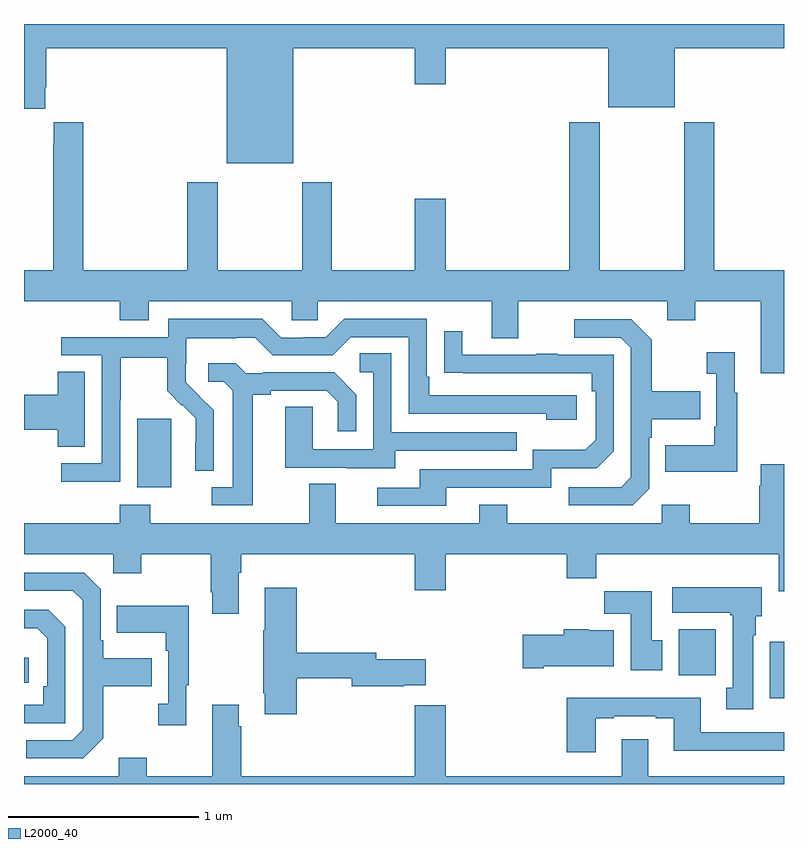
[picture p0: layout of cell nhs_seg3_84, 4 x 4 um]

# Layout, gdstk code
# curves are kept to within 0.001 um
import gdstk
lib = gdstk.Library(unit=1e-6, precision=1e-09)
def R(c, l, rs):  # rectangles x0, y0, x1, y1
    for r in rs: c.add(gdstk.rectangle(r[:2], r[2:], *l))
def P(c, l, *ps):  # polygons
    for p in ps: c.add(gdstk.Polygon(p, *l))
L2000_40 = (2000, 40)

nhs_seg3_84 = lib.new_cell('nhs_seg3_84')
R(nhs_seg3_84, L2000_40, [(118.925,674.852,119,675.148), (115,674.934,115.024,675.064), (118.445,674.972,118.642,675.214), (115.595,675.962,115.774,676.323)])
P(nhs_seg3_84, L2000_40, [(116.416,678.272),(117.056,678.272),(117.056,678.084),(117.22,678.084),(117.22,678.272),(118.076,678.272),(118.076,677.963),(118.426,677.963),(118.426,678.272),(119,678.272),(119,678.4),(115,678.4),(115,677.955),(115.111,677.955),(115.111,678.067),(115.118,678.067),(115.118,678.272),(116.066,678.272),(116.066,677.666),(116.416,677.666)],
  [(119,677.104),(118.634,677.104),(118.634,677.884),(118.474,677.884),(118.474,677.104),(118.029,677.104),(118.029,677.884),(117.869,677.884),(117.869,677.104),(117.22,677.104),(117.22,677.479),(117.056,677.479),(117.056,677.104),(116.619,677.104),(116.619,677.566),(116.464,677.566),(116.464,677.104),(116.019,677.104),(116.019,677.566),(115.859,677.566),(115.859,677.104),(115.313,677.104),(115.313,677.884),(115.157,677.884),(115.157,677.771),(115.153,677.771),(115.153,677.104),(115,677.104),(115,676.94),(115.505,676.94),(115.505,676.841),(115.657,676.841),(115.657,676.94),(116.409,676.94),(116.409,676.842),(116.547,676.842),(116.547,676.94),(117.461,676.94),(117.461,676.746),(117.601,676.746),(117.601,676.94),(118.385,676.94),(118.385,676.841),(118.533,676.841),(118.533,676.94),(118.877,676.94),(118.877,676.563),(119,676.563)],
  [(115.506,676.42),(115.509,676.42),(115.509,676.644),(115.753,676.644),(115.753,676.469),(115.83,676.392),(115.833,676.395),(115.904,676.325),(115.904,676.202),(115.902,676.202),(115.902,676.048),(115.998,676.048),(115.998,676.366),(115.852,676.514),(115.852,676.611),(115.854,676.611),(115.854,676.745),(116.117,676.745),(116.117,676.749),(116.217,676.749),(116.31,676.656),(116.625,676.656),(116.721,676.752),(117.024,676.752),(117.024,676.35),(117.749,676.35),(117.749,676.316),(117.91,676.316),(117.91,676.446),(117.133,676.446),(117.133,676.543),(117.12,676.543),(117.12,676.848),(116.685,676.848),(116.589,676.752),(116.471,676.752),(116.471,676.749),(116.355,676.749),(116.255,676.849),(115.758,676.849),(115.758,676.752),(115.197,676.752),(115.197,676.656),(115.41,676.656),(115.41,676.089),(115.197,676.089),(115.197,675.991),(115.506,675.991)],
  [(118.29,675.954),(118.29,676.223),(118.303,676.223),(118.303,676.319),(118.559,676.319),(118.559,676.467),(118.303,676.467),(118.303,676.739),(118.197,676.845),(117.897,676.845),(117.897,676.749),(118.14,676.749),(118.194,676.695),(118.194,676.014),(118.143,675.963),(117.867,675.963),(117.867,675.867),(118.203,675.867)],
  [(117.223,675.96),(117.774,675.96),(117.774,676.062),(118.014,676.062),(118.104,676.152),(118.104,676.659),(117.809,676.659),(117.809,676.664),(117.697,676.664),(117.697,676.659),(117.307,676.659),(117.307,676.783),(117.211,676.783),(117.211,676.564),(117.988,676.563),(117.988,676.466),(118.008,676.466),(118.008,676.212),(117.955,676.159),(117.678,676.159),(117.678,676.056),(117.083,676.056),(117.083,675.96),(116.859,675.96),(116.859,675.864),(117.223,675.864)],
  [(118.753,676.459),(118.741,676.459),(118.741,676.672),(118.593,676.672),(118.593,676.559),(118.644,676.559),(118.644,676.279),(118.632,676.279),(118.632,676.183),(118.375,676.183),(118.375,676.043),(118.753,676.043)],
  [(116.953,676.155),(117.593,676.155),(117.593,676.251),(116.934,676.251),(116.934,676.667),(116.766,676.667),(116.766,676.566),(116.838,676.566),(116.838,676.161),(116.52,676.161),(116.52,676.385),(116.375,676.385),(116.375,676.065),(116.699,676.065),(116.699,676.061),(116.953,676.061)],
  [(116.203,676.448),(116.299,676.448),(116.299,676.47),(116.594,676.47),(116.651,676.413),(116.651,676.257),(116.748,676.257),(116.748,676.45),(116.632,676.566),(116.26,676.566),(116.26,676.563),(116.166,676.563),(116.114,676.615),(115.971,676.615),(115.971,676.518),(116.052,676.518),(116.099,676.471),(116.099,675.963),(115.989,675.963),(115.989,675.867),(116.203,675.867)],
  [(115.321,676.571),(115.178,676.571),(115.178,676.448),(115,676.448),(115,676.265),(115.178,676.265),(115.178,676.174),(115.321,676.174)],
  [(116.131,675.512),(116.144,675.512),(116.144,675.608),(117.056,675.608),(117.056,675.42),(117.22,675.42),(117.22,675.608),(117.857,675.608),(117.857,675.484),(118.013,675.484),(118.013,675.608),(118.973,675.608),(118.973,675.414),(119,675.414),(119,676.084),(118.877,676.084),(118.877,675.971),(118.87,675.971),(118.87,675.772),(118.503,675.772),(118.503,675.871),(118.356,675.871),(118.356,675.772),(117.543,675.772),(117.543,675.871),(117.395,675.871),(117.395,675.772),(116.641,675.772),(116.641,675.98),(116.501,675.98),(116.501,675.772),(115.665,675.772),(115.665,675.871),(115.505,675.871),(115.505,675.772),(115,675.772),(115,675.608),(115.47,675.608),(115.47,675.509),(115.617,675.509),(115.617,675.608),(115.984,675.608),(115.984,675.409),(115.991,675.409),(115.991,675.297),(116.131,675.297)],
  [(115.417,674.641),(115.417,674.914),(115.673,674.914),(115.673,675.061),(115.417,675.061),(115.417,675.157),(115.404,675.157),(115.404,675.426),(115.317,675.513),(115,675.513),(115,675.417),(115.257,675.417),(115.308,675.366),(115.308,674.685),(115.254,674.631),(115.011,674.631),(115.011,674.535),(115.311,674.535)],
  [(118.837,675.182),(118.852,675.182),(118.852,675.282),(118.882,675.282),(118.882,675.436),(118.413,675.436),(118.413,675.302),(118.717,675.302),(118.717,675.289),(118.73,675.289),(118.73,674.906),(118.697,674.906),(118.697,674.793),(118.837,674.793)],
  [(116.435,674.956),(116.726,674.956),(116.726,674.914),(117.002,674.914),(117.002,674.921),(117.115,674.921),(117.115,675.056),(116.854,675.056),(116.854,675.092),(116.435,675.092),(116.435,675.433),(116.267,675.433),(116.267,675.209),(116.26,675.209),(116.26,674.878),(116.267,674.878),(116.267,674.766),(116.435,674.766)],
  [(118.36,675.156),(118.303,675.156),(118.303,675.415),(118.054,675.415),(118.054,675.296),(118.193,675.296),(118.193,675),(118.36,675)],
  [(115.855,674.921),(115.867,674.921),(115.867,675.337),(115.489,675.337),(115.489,675.197),(115.746,675.197),(115.746,675.101),(115.758,675.101),(115.758,674.822),(115.707,674.822),(115.707,674.709),(115.855,674.709)],
  [(115.218,675.228),(115.128,675.318),(115,675.318),(115,675.221),(115.069,675.221),(115.122,675.168),(115.122,674.914),(115.102,674.914),(115.102,674.817),(115,674.817),(115,674.721),(115.218,674.721)],
  [(117.736,675.02),(118.105,675.02),(118.105,675.208),(117.972,675.208),(117.972,675.214),(117.842,675.214),(117.842,675.186),(117.624,675.186),(117.624,675.008),(117.736,675.008)],
  [(118.009,674.745),(118.105,674.745),(118.105,674.757),(118.325,674.757),(118.325,674.745),(118.421,674.745),(118.421,674.576),(119,674.576),(119,674.673),(118.561,674.673),(118.561,674.854),(117.857,674.854),(117.857,674.568),(118.009,674.568)],
  [(119,674.44),(118.285,674.44),(118.285,674.635),(118.145,674.635),(118.145,674.44),(117.22,674.44),(117.22,674.815),(117.056,674.815),(117.056,674.44),(116.144,674.44),(116.144,674.705),(116.131,674.705),(116.131,674.818),(115.991,674.818),(115.991,674.44),(115.647,674.44),(115.647,674.539),(115.499,674.539),(115.499,674.44),(115,674.44),(115,674.4),(119,674.4)])

lib.write_gds('nhs_seg3_84.gds')
